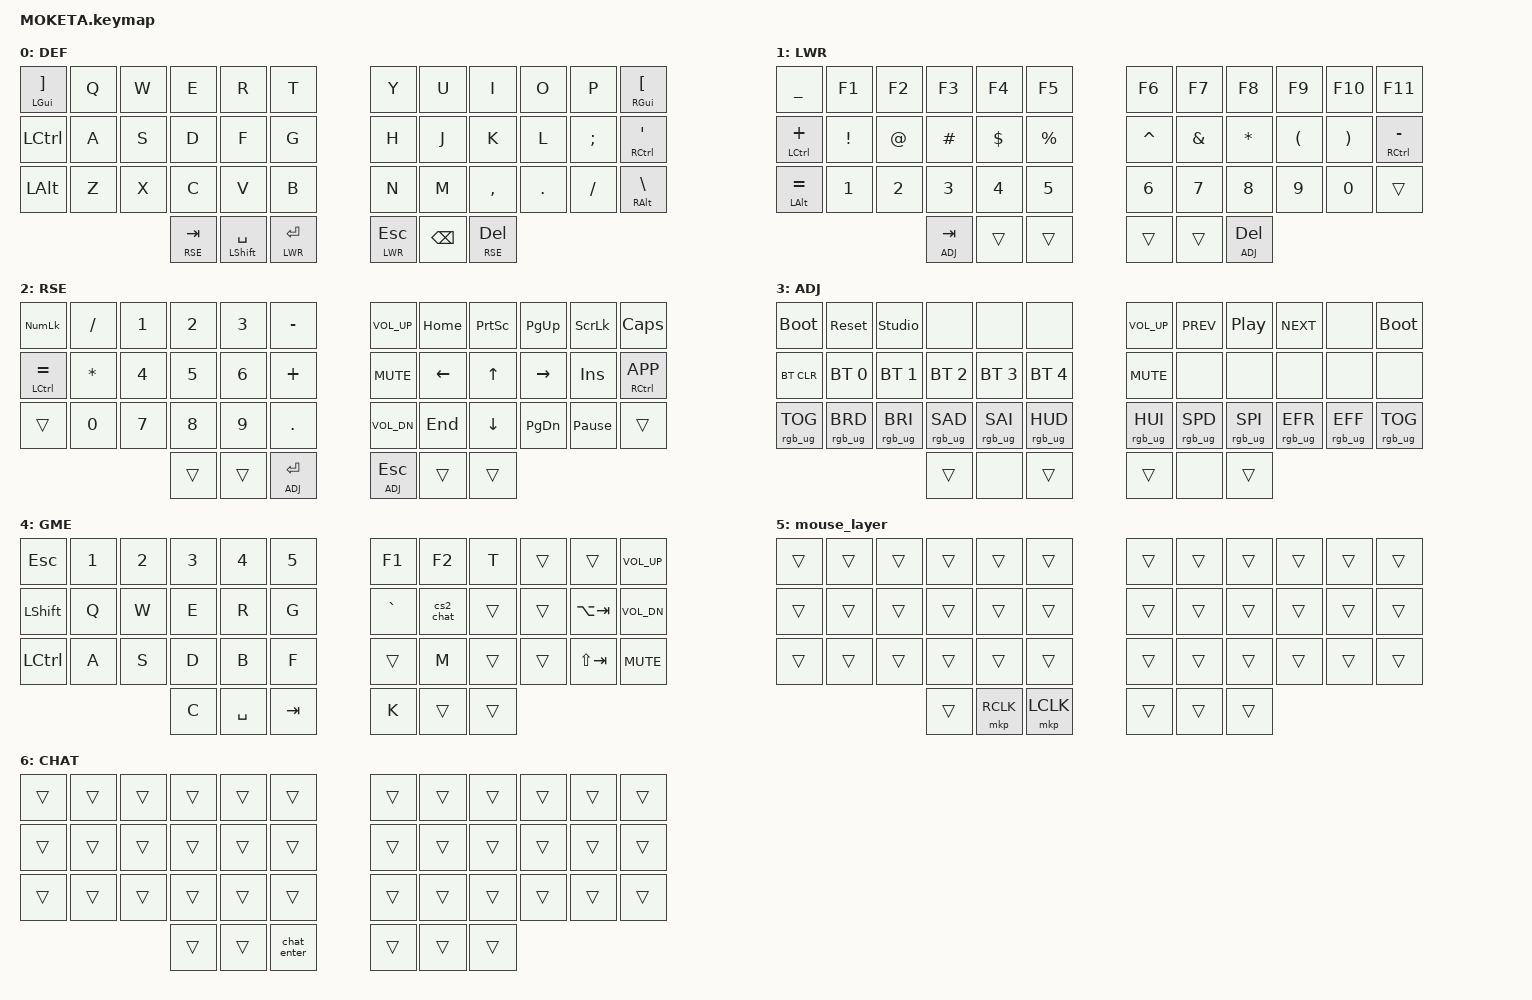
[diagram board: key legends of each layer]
#include <behaviors.dtsi>
#include <dt-bindings/zmk/bt.h>
#include <dt-bindings/zmk/keys.h>
#include <dt-bindings/zmk/outputs.h>
#include <dt-bindings/zmk/pointing.h>
#include <dt-bindings/zmk/rgb.h>

#define DEF 0
#define LWR 1
#define RSE 2
#define ADJ 3
#define GME 4
#define CHAT 6

&lt {
    flavor = "balanced";
    tapping-term-ms = <220>;
    quick-tap-ms = <175>;
};

&mt {
    flavor = "balanced";
    tapping-term-ms = <280>;
    quick-tap-ms = <175>;
};

/ {
    combos {
        compatible = "zmk,combos";

        to_game_layer {
            bindings = <&to 4>;
            key-positions = <27 14>;
            layers = <0>;
        };

        to_default_layer {
            bindings = <&to 0>;
            key-positions = <15 3>;
            layers = <4>;
        };

        combo_cs_mic {
            bindings = <&kp K>;
            key-positions = <37 38>;
            layers = <4>;
        };

        combo_copy {
            bindings = <&kp LC(C)>;
            key-positions = <2 3 4>;
            layers = <0>;
        };

        combo_paste {
            bindings = <&kp LC(V)>;
            key-positions = <2 4>;
            layers = <0>;
        };

        combo_cut {
            bindings = <&kp LC(X)>;
            key-positions = <2 3>;
            layers = <0>;
        };

        combo_backspace {
            bindings = <&lt 5 BACKSPACE>;
            key-positions = <37 36>;
            layers = <0>;
        };

        combo_delete {
            bindings = <&kp DELETE>;
            key-positions = <37 38>;
            layers = <0>;
        };

        combo_mouse {
            bindings = <&mo 5>;
            key-positions = <14 15>;
            layers = <0>;
        };

        change_lang {
            bindings = <&kp RG(SPACE)>;
            key-positions = <24 12>;
        };
    };
};

/ {
    macros {
        function: function {
            compatible = "zmk,behavior-macro";
            #binding-cells = <0>;
            bindings =
                <&kp SPACE &kp EQUAL &kp SPACE &kp LEFT_PARENTHESIS &kp RIGHT_ARROW &kp SPACE &kp EQUAL &kp GREATER_THAN &kp SPACE &kp LEFT_BRACE &kp ENTER>,
                <&macro_tap>;

            label = "FUNCTION";
        };

        cs2_chat: cs2_chat {
            compatible = "zmk,behavior-macro";
            #binding-cells = <0>;
            bindings = <&to CHAT>, <&kp Y>;
            label = "CS2_CHAT";
        };

        chat_enter: chat_enter {
            compatible = "zmk,behavior-macro";
            #binding-cells = <0>;
            bindings = <&kp RET>, <&to GME>;
            label = "CHAT_ENTER";
        };
    };

    keymap {
        compatible = "zmk,keymap";

        base_layer {
            label = "DEF";
            bindings = <
&mt LEFT_GUI RIGHT_BRACKET  &kp Q  &kp W  &kp E  &kp R        &kp T                                      &kp Y          &kp U        &kp I      &kp O    &kp P     &mt RIGHT_GUI LEFT_BRACKET
&kp LCTRL                   &kp A  &kp S  &kp D  &kp F        &kp G                                      &kp H          &kp J        &kp K      &kp L    &kp SEMI  &mt RCTRL SQT
&kp LALT                    &kp Z  &kp X  &kp C  &kp V        &kp B                                      &kp N          &kp M        &kp COMMA  &kp DOT  &kp FSLH  &mt RALT BSLH
                                                 &lt RSE TAB  &mt LSHFT SPACE  &lt LWR RET  &lt LWR ESC  &kp BACKSPACE  &lt RSE DEL
            >;
        };

        lower_layer {
            label = "LWR";
            bindings = <
&kp UNDER       &kp F1    &kp F2  &kp F3    &kp F4       &kp F5                     &kp F6     &kp F7       &kp F8    &kp F9    &kp F10   &kp F11
&mt LCTRL PLUS  &kp EXCL  &kp AT  &kp HASH  &kp DLLR     &kp PRCNT                  &kp CARET  &kp AMPS     &kp STAR  &kp LPAR  &kp RPAR  &mt RCTRL MINUS
&mt LALT EQUAL  &kp N1    &kp N2  &kp N3    &kp N4       &kp N5                     &kp N6     &kp N7       &kp N8    &kp N9    &kp N0    &trans
                                            &lt ADJ TAB  &trans     &trans  &trans  &trans     &lt ADJ DEL
            >;
        };

        raise_layer {
            label = "RSE";
            bindings = <
&kp KP_NUM       &kp SLASH     &kp N1        &kp N2        &kp N3        &kp MINUS                             &kp C_VOL_UP  &kp HOME  &kp PSCRN  &kp PG_UP  &kp SLCK         &kp CAPS
&mt LCTRL EQUAL  &kp ASTERISK  &kp N4        &kp N5        &kp N6        &kp PLUS                              &kp C_MUTE    &kp LEFT  &kp UP     &kp RIGHT  &kp INS          &mt RCTRL K_APP
&trans           &kp NUMBER_0  &kp NUMBER_7  &kp NUMBER_8  &kp NUMBER_9  &kp PERIOD                            &kp C_VOL_DN  &kp END   &kp DOWN   &kp PG_DN  &kp PAUSE_BREAK  &trans
                                                           &trans        &trans      &lt ADJ RET  &lt ADJ ESC  &trans        &trans
            >;
        };

        adjust_layer {
            label = "ADJ";
            bindings = <
&bootloader      &sys_reset       &studio_unlock   &none            &none            &none                         &kp C_VOL_UP     &kp C_PREV       &kp C_PLAY_PAUSE &kp C_NEXT       &none            &bootloader
&bt BT_CLR       &bt BT_SEL 0     &bt BT_SEL 1     &bt BT_SEL 2     &bt BT_SEL 3     &bt BT_SEL 4                  &kp C_MUTE       &none            &none            &none            &none            &none
&rgb_ug RGB_TOG  &rgb_ug RGB_BRD  &rgb_ug RGB_BRI  &rgb_ug RGB_SAD  &rgb_ug RGB_SAI  &rgb_ug RGB_HUD               &rgb_ug RGB_HUI  &rgb_ug RGB_SPD  &rgb_ug RGB_SPI  &rgb_ug RGB_EFR  &rgb_ug RGB_EFF  &rgb_ug RGB_TOG
                                                                    &trans           &none           &trans  &trans &none            &trans
            >;
        };

        game_layer {
            label = "GME";
            bindings = <
&kp ESCAPE      &kp N1  &kp N2  &kp N3  &kp N4  &kp NUMBER_5                  &kp F1     &kp F2  &kp T   &trans  &trans       &kp C_VOLUME_UP
&kp LEFT_SHIFT  &kp Q   &kp W   &kp E   &kp R   &kp G                         &kp GRAVE  &cs2_chat  &trans  &trans  &kp LA(TAB)  &kp C_VOL_DN
&kp LCTRL       &kp A   &kp S   &kp D   &kp B   &kp F                         &trans     &kp M   &trans  &trans  &kp LS(TAB)  &kp K_MUTE
                                        &kp C   &kp SPACE     &kp TAB  &kp K  &trans     &trans
            >;
        };

        mouse_layer {
            bindings = <
&trans  &trans  &trans  &trans  &trans  &trans                        &trans  &trans  &trans  &trans  &trans  &trans
&trans  &trans  &trans  &trans  &trans  &trans                        &trans  &trans  &trans  &trans  &trans  &trans
&trans  &trans  &trans  &trans  &trans  &trans                        &trans  &trans  &trans  &trans  &trans  &trans
                                &trans  &mkp RCLK  &mkp LCLK  &trans  &trans  &trans
            >;
        };

        chat_layer {
            label = "CHAT";
            bindings = <
&trans  &trans  &trans  &trans  &trans  &trans                           &trans  &trans  &trans  &trans  &trans  &trans
&trans  &trans  &trans  &trans  &trans  &trans                           &trans  &trans  &trans  &trans  &trans  &trans
&trans  &trans  &trans  &trans  &trans  &trans                           &trans  &trans  &trans  &trans  &trans  &trans
                                &trans  &trans  &chat_enter  &trans  &trans  &trans
            >;
        };
    };
};
